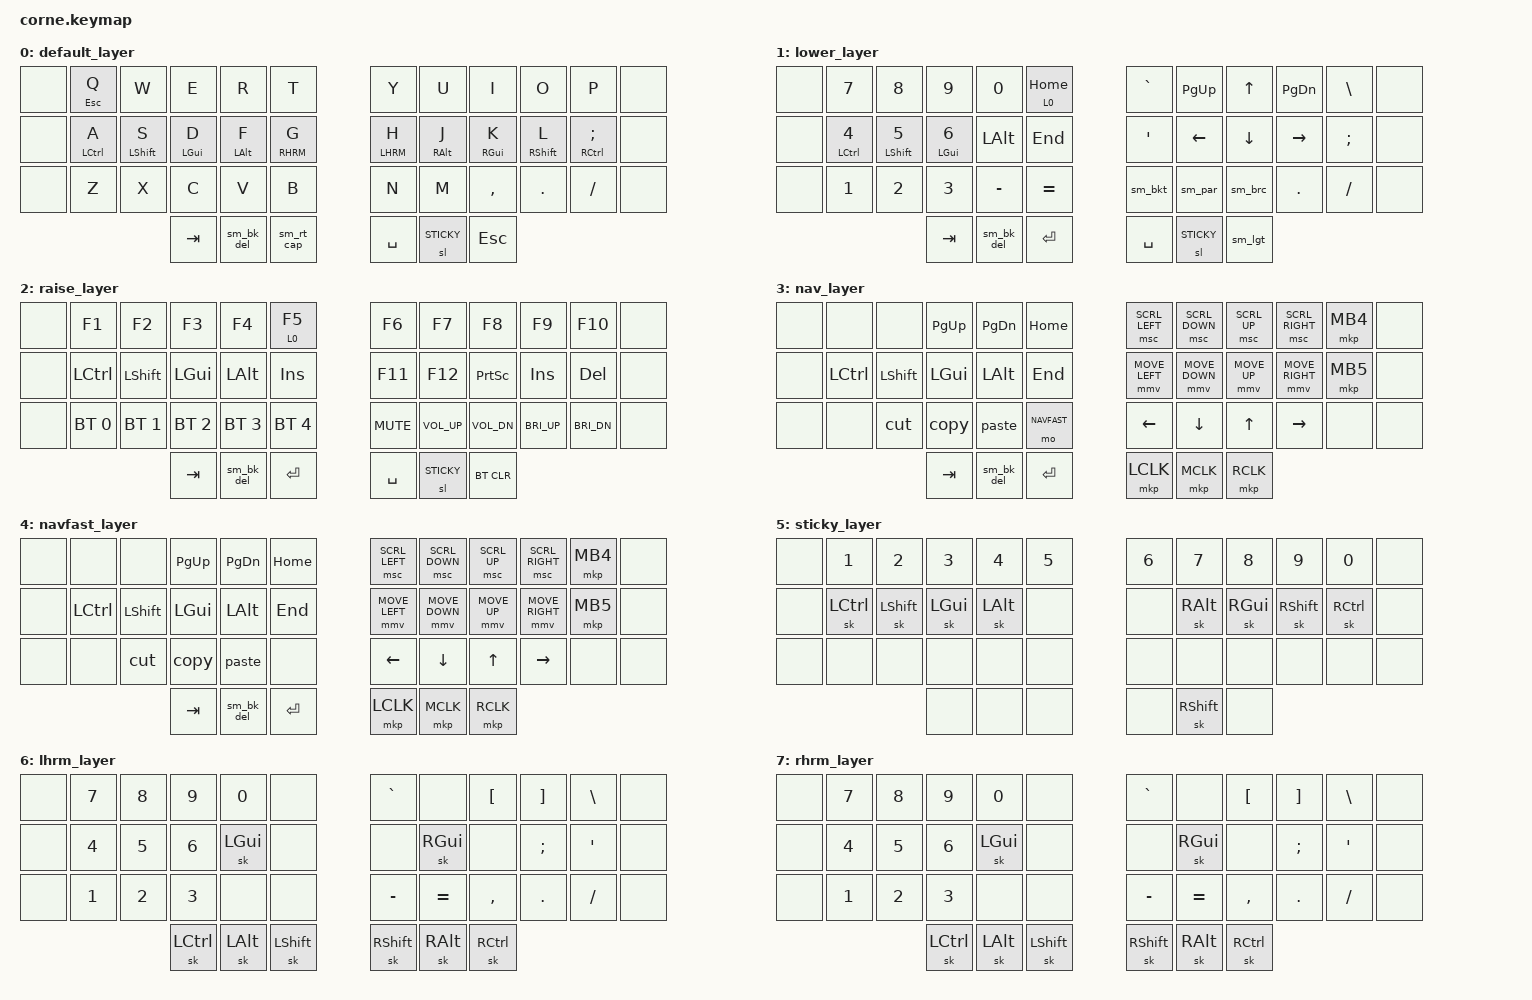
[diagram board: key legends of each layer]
/*
 * Copyright (c) 2020 The ZMK Contributors
 *
 * SPDX-License-Identifier: MIT
 */

#include <behaviors.dtsi>
#include <input/processors.dtsi>
#include <dt-bindings/zmk/keys.h>
#include <dt-bindings/zmk/bt.h>
#include <dt-bindings/zmk/mouse.h>
#include <dt-bindings/zmk/pointing.h>

#define ZMK_POINTING_DEFAULT_MOVE_VAL 1000  // default: 600
#define ZMK_POINTING_DEFAULT_SCRL_VAL 80    // default: 10


#define MAIN  0
#define NUM   1
#define SYS   2
#define NAV   3
#define NAVFAST 4
#define STICKY 5
#define LHRM  6
#define RHRM  7

&mmv {
    time-to-max-speed-ms = <500>;
    acceleration-exponent = <3>;
};

&msc {
    time-to-max-speed-ms = <300>;
    acceleration-exponent = <5>;
};

&mmv_input_listener {
    set_mouse_fast {
        layers = <NAVFAST>;
        input-processors = <&zip_xy_scaler 2 1>;
    };
};

&msc_input_listener {
    fast_scroll {
        layers = <NAVFAST>;
        input-processors = <&zip_xy_scaler 2 2>; // 2× scroll
    };
};

/ {
    macros {
        // No longer in use
        cmb1: cmb1 {
            compatible = "zmk,behavior-macro";
            #binding-cells = <0>;
            bindings
                = <&macro_press &kp LGUI &kp LCTRL>
                , <&macro_pause_for_release>
                , <&macro_release &kp LGUI &kp LCTRL>
                ;
        };
        // No longer in use
        cmb2: cmb2 {
            compatible = "zmk,behavior-macro";
            #binding-cells = <0>;
            bindings
                = <&macro_press &kp LSHFT &kp LCTRL>
                , <&macro_pause_for_release>
                , <&macro_release &kp LSHFT &kp LCTRL>
                ;
        };
        // No longer in use
        cmb3: cmb3 {
            compatible = "zmk,behavior-macro";
            #binding-cells = <0>;
            bindings
                = <&macro_press &kp LALT &kp LCTRL>
                , <&macro_pause_for_release>
                , <&macro_release &kp LALT &kp LCTRL>
                ;
        };
        cut: cut {
            compatible = "zmk,behavior-macro";
            #binding-cells = <0>;
            bindings
                = <&macro_press &kp LCTRL &kp X>
                , <&macro_pause_for_release>
                , <&macro_release &kp LCTRL &kp X>
                ;
        };
        copy: copy {
            compatible = "zmk,behavior-macro";
            #binding-cells = <0>;
            bindings
                = <&macro_press &kp LCTRL &kp C>
                , <&macro_pause_for_release>
                , <&macro_release &kp LCTRL &kp C>
                ;
        };
        paste: paste {
            compatible = "zmk,behavior-macro";
            #binding-cells = <0>;
            bindings
                = <&macro_press &kp LCTRL &kp V>
                , <&macro_pause_for_release>
                , <&macro_release &kp LCTRL &kp V>
                ;
        };
    };
};
/ {
    combos {
        compatible = "zmk,combos";
        combo_nav_left {
            timeout-ms = <80>;
            key-positions = <25 38>;
            bindings = <&to NAV>;
            require-prior-idle-ms = <150>;
            slow-release;
        };
        combo_main_left {
            timeout-ms = <80>;
            key-positions = <1 38>;
            bindings = <&to MAIN>;
            require-prior-idle-ms = <150>;
            slow-release;
        };
        combo_num_left {
            timeout-ms = <80>;
            key-positions = <3 38>;
            bindings = <&to NUM>;
            require-prior-idle-ms = <150>;
            slow-release;
        };
        combo_sys_left {
            timeout-ms = <80>;
            key-positions = <5 38>;
            bindings = <&to SYS>;
            require-prior-idle-ms = <150>;
            slow-release;
        };
        combo_nav_right {
            timeout-ms = <80>;
            key-positions = <34 39>;
            bindings = <&to NAV>;
            require-prior-idle-ms = <150>;
            slow-release;
        };
        combo_main_right {
            timeout-ms = <80>;
            key-positions = <10 39>;
            bindings = <&to MAIN>;
            require-prior-idle-ms = <150>;
            slow-release;
        };
        combo_num_right {
            timeout-ms = <80>;
            key-positions = <8 39>;
            bindings = <&to NUM>;
            require-prior-idle-ms = <150>;
            slow-release;
        };
        combo_sys_right {
            timeout-ms = <80>;
            key-positions = <6 39>;
            bindings = <&to SYS>;
            require-prior-idle-ms = <150>;
            slow-release;
        };
    };
};
&sk {
        release-after-ms = <3500>;
        // /delete-property/ ignore-modifiers;
};
/ {
        behaviors {
                bhm: balanced_homerow_mods {
                        compatible = "zmk,behavior-hold-tap";
                        #binding-cells = <2>;
                        tapping-term-ms = <300>;
                        quick-tap-ms = <200>;
                        require-prior-idle-ms = <150>;
                        flavor = "balanced";
                        bindings = <&kp>, <&kp>;
                };
                sm_bk_del: shift_mod_bkps_del {
                        compatible = "zmk,behavior-mod-morph";
                        #binding-cells = <0>;
                        bindings = <&kp BSPC>, <&kp DEL>;
                        mods = <(MOD_LSFT|MOD_RSFT)>;
                        keep-mods = <(MOD_RSFT)>;
                };
                sm_bkt: shift_mod_bkt {
                        compatible = "zmk,behavior-mod-morph";
                        #binding-cells = <0>;
                        bindings = <&kp LBKT>, <&kp RBKT>;
                        mods = <(MOD_LSFT|MOD_RSFT)>;
                        keep-mods = <(MOD_RSFT)>;
                };
                sm_par: shift_mod_par {
                        compatible = "zmk,behavior-mod-morph";
                        #binding-cells = <0>;
                        bindings = <&kp LPAR>, <&kp RPAR>;
                        mods = <(MOD_LSFT|MOD_RSFT)>;
                        keep-mods = <(MOD_RSFT)>;
                };
                sm_brc: shift_mod_brc {
                        compatible = "zmk,behavior-mod-morph";
                        #binding-cells = <0>;
                        bindings = <&kp LBRC>, <&kp RBRC>;
                        mods = <(MOD_LSFT|MOD_RSFT)>;
                        keep-mods = <(MOD_RSFT)>;
                };
                sm_lgt: shift_mod_lgt {
                        compatible = "zmk,behavior-mod-morph";
                        #binding-cells = <0>;
                        bindings = <&kp LT>, <&kp GT>;
                        mods = <(MOD_LSFT|MOD_RSFT)>;
                        keep-mods = <(MOD_RSFT)>;
                };
                sm_rt_cap: shift_mod_ret_cap {
                        compatible = "zmk,behavior-mod-morph";
                        #binding-cells = <0>;
                        bindings = <&kp RET>, <&kp CAPS>;
                        mods = <(MOD_LSFT)>;
                };
                // This is no longer in use
                sl_no_tab: shift_mod_no_tab {
                        compatible = "zmk,behavior-mod-morph";
                        #binding-cells = <0>;
                        bindings = <&to NUM>, <&kp TAB>;
                        mods = <(MOD_LSFT|MOD_RSFT)>;
                        keep-mods = <(MOD_RSFT)>;
                };
                // This is no longer in use
                stk: sticky_s_c_a {
                        compatible = "zmk,behavior-hold-tap";
                        #binding-cells = <2>;
                        tapping-term-ms = <150>;
                        quick-tap-ms = <0>;
                        flavor = "tap-preferred";
                        bindings = <&sk>, <&sk>;
                };
                // This is no longer in use
                td_mt: tap_dance_mod_tap {
                        compatible = "zmk,behavior-tap-dance";
                        #binding-cells = <0>;
                        tapping-term-ms = <200>;
                        bindings = <&stk RALT RSHIFT>, <&sk RCTRL>;
                };
                // This is no longer in use
                sh_ma: shift_mod_main_layer {
                        compatible = "zmk,behavior-mod-morph";
                        #binding-cells = <0>;
                        bindings = <&to SYS>, <&kp MAIN>;
                        mods = <(MOD_LSFT|MOD_RSFT)>;
                };
                td_main: to_main_layer {
                        compatible = "zmk,behavior-hold-tap";
                        #binding-cells = <2>;
                        tapping-term-ms = <200>;
                        quick-tap-ms = <0>;
                        flavor = "tap-preferred";
                        bindings = <&to>, <&kp>;
                };
                // No longer in use
                mod_st: mod_st {
                        compatible = "zmk,behavior-hold-tap";
                        #binding-cells = <2>;
                        tapping-term-ms = <200>;
                        quick-tap-ms = <0>;
                        flavor = "tap-preferred";
                        bindings = <&kp>, <&sk>;
                };
                lhm: balanced_layer_home_row_mods {
                        compatible = "zmk,behavior-hold-tap";
                        #binding-cells = <2>;
                        tapping-term-ms = <300>;
                        quick-tap-ms = <200>;
                        require-prior-idle-ms = <150>;
                        flavor = "balanced";
                        bindings = <&mo>, <&kp>;
                };
        };
        keymap {
                compatible = "zmk,keymap";

                default_layer {
// -----------------------------------------------------------------------------------------------------------------------------
// | N/A  |  ESC/Q    |  W       |  E      |  R        |    T     |   |  Y         |    U        |   I      |   O      |  P        | N/A  |
// | N/A  |  A/LCTRL  | S/LSHIFT |  D/LGUI |  F/LALT   | G/<LHRM> |   |  H <RHRM>  |   J/RALT    |  K/RGUI  | L/RSHIFT |  ;/RCTRL  | N/A  |
// | N/A  |  Z        |  X       |  C      |  V        |    B     |   |  N         |   M         |  ,       |  .       |  /        | N/A  |
//                               |  TAB    |  DEL/BKP  | ENT/CAP  |   | SPC        |   sticky    |  ESC     |
                        bindings = <
   &none &mt ESC Q    &kp W         &kp E         &kp R         &kp T           &kp Y          &kp U        &kp I           &kp O         &kp P           &none
   &none &bhm LCTRL A &bhm LSHIFT S &bhm LGUI D   &bhm LALT F   &lhm RHRM G    &lhm LHRM H    &bhm RALT J  &bhm RGUI K     &bhm RSHIFT L &bhm RCTRL SEMI &none
   &none &kp Z        &kp X         &kp C         &kp V         &kp B           &kp N          &kp M        &kp COMMA       &kp DOT       &kp FSLH        &none
                                    &kp TAB       &sm_bk_del    &sm_rt_cap      &kp SPACE      &sl STICKY   &kp ESC
                        >;
                };

                lower_layer {
// This should be removed, once I feel this no longer needed
// -----------------------------------------------------------------------------------------------------------------------------------
// | N/A  |    7     |   8      |   9       |     0      |HOME/M |   |    ~       |   PG_UP    |  UP     |  PG_DN   |  "\" / "|" | N/A  |
// | N/A  |  4/LCTRL | 5/LSHIFT |   6/LGUI  |   LALT     |  END  |   |    '/"     |   LEFT     |  DOWN   |  RIGHT   |   ;        | N/A  |
// | N/A  |   1      |  2       |   3       |    -/_     |  =/+  |   |     [/]    |    (/)     |   {/}   |    .     |    /       | N/A  |
//                              |    TAB    |  DEL/BKP   |  ENT  |   |    SPC     |    sticky  |   </>   |
                       bindings = <
   &none &kp N7        &kp N8         &kp N9         &kp N0        &td_main 0 HOME   &kp GRAVE       &kp PG_UP      &kp UP       &kp PG_DN  &kp BSLH   &none
   &none &bhm LCTRL N4 &bhm LSHIFT N5 &bhm LGUI N6   &kp LALT      &kp END           &kp SQT         &kp LEFT       &kp DOWN     &kp RIGHT  &kp SEMI   &none
   &none &kp N1        &kp N2         &kp N3         &kp MINUS     &kp EQUAL         &sm_bkt         &sm_par        &sm_brc      &kp DOT    &kp FSLH   &none
                                      &kp TAB        &sm_bk_del    &kp RET           &kp SPACE       &sl STICKY     &sm_lgt
                        >;
                };

                raise_layer {
// -------------------------------------------------------------------------------------------------------------------------------
// | N/A  |     F1    |   F2     |   F3    |    F4      | F5/M  |   | F6     | F7       |  F8      |  F9      |   F10     | N/A  |
// | N/A  |   LCTRL   |  LSHIFT  |   LGUI  |    LALT    |INSERT |   | F11    | F12      |  PSCRN   |  INS     |   DEL     | N/A  |
// | N/A  |    BT1    |  BT2     |   BT3   |    BT4     |  BT5  |   | C_MUTE | C_VOL_UP | C_VOL_DN | C_BRI_UP | C_BRI_DN  | N/A  |
//                               |    TAB  |   DEL/BKP  |  ENT  |   | SPC    |  sticky  |  BTCLR   |
                        bindings = <
   &none  &kp F1       &kp F2       &kp F3       &kp F4       &td_main 0  F5    &kp F6     &kp F7        &kp F8        &kp F9       &kp F10       &none
   &none  &kp LCTRL    &kp LSHFT    &kp LGUI     &kp LALT     &kp INS           &kp F11    &kp F12       &kp PSCRN     &kp INS      &kp DEL       &none
   &none  &bt BT_SEL 0 &bt BT_SEL 1 &bt BT_SEL 2 &bt BT_SEL 3 &bt BT_SEL 4      &kp C_MUTE &kp C_VOL_UP  &kp C_VOL_DN  &kp C_BRI_UP &kp C_BRI_DN  &none
                                    &kp TAB      &sm_bk_del   &kp RET           &kp SPACE  &sl STICKY    &bt BT_CLR
                        >;
                };
                nav_layer {
// -------------------------------------------------------------------------------------------------------------------------------
// | N/A  |  CMB1  |  SHFT  |  UP    | ALT     | HOME/M |       | MB4   | None  | None  | None  | None  | None  |
// | N/A  |  CMB2  |  LEFT  |  DOWN  | RIGHT   | END    |       | MB5   | None  | None  | None  | None  | None  |
// | N/A  |  CMB3  |  CUT   | COPY   | PASTE   | WIN    |       | None  | LCLK  | MCLK  | RCLK  | None  | None  |
//                          |  TAB   | DEL/BKP |  ENT   |       | None  | None  | None  |
                        bindings = <
   &none  &none         &none        &kp PG_UP    &kp PG_DN     &kp HOME      &msc SCRL_LEFT   &msc SCRL_DOWN   &msc SCRL_UP  &msc SCRL_RIGHT  &mkp MB4    &none
   &none  &kp LCTRL     &kp LSHFT    &kp LGUI     &kp LALT      &kp END       &mmv MOVE_LEFT   &mmv MOVE_DOWN   &mmv MOVE_UP  &mmv MOVE_RIGHT  &mkp MB5    &none
   &none  &none         &cut         &copy        &paste        &mo NAVFAST         &kp LEFT         &kp DOWN         &kp UP        &kp RIGHT  &none       &none
                                     &kp TAB      &sm_bk_del    &kp RET       &mkp LCLK  &mkp MCLK        &mkp RCLK 
                        >;
                };
// Momentary layer for fast scroll and mouse movement
                navfast_layer {
                        bindings = <
   &none  &none         &none        &kp PG_UP    &kp PG_DN     &kp HOME      &msc SCRL_LEFT   &msc SCRL_DOWN    &msc SCRL_UP    &msc SCRL_RIGHT   &mkp MB4    &none
   &none  &kp LCTRL     &kp LSHFT    &kp LGUI     &kp LALT      &kp END       &mmv MOVE_LEFT   &mmv MOVE_DOWN    &mmv MOVE_UP    &mmv MOVE_RIGHT   &mkp MB5    &none
   &none  &none         &cut         &copy        &paste        &none         &kp LEFT         &kp DOWN          &kp UP          &kp RIGHT         &none       &none
                                     &kp TAB      &sm_bk_del    &kp RET       &mkp LCLK        &mkp MCLK         &mkp RCLK
    >;
};

                sticky_layer {
// -------------------------------------------------------------------------------------------------------------------------------
// | None  | None  | None  | None  | None  | None  |       | None  | None  | None  | None  | None  | None  |
// | None  | None  | None  | None  | None  | None  |       | None  | None  | None  | None  | None  | None  |
// | None  | None  | None  | None  | None  | None  |       | None  | None  | None  | None  | None  | None  |
//                         | None  | None  | None  |       | None  | None  | None  |
                        bindings = <
   &none   &kp N1      &kp N2       &kp N3       &kp N4       &kp N5        &kp N6  &kp N7        &kp N8        &kp N9         &kp N0     &none
   &none   &sk LCTRL   &sk LSHFT    &sk LGUI     &sk LALT     &none         &none   &sk RALT      &sk RGUI      &sk RSHIFT     &sk RCTRL  &none
   &none   &none       &none        &none        &none        &none         &none   &none         &none         &none          &none      &none
                                    &none        &none        &none         &none   &sk RSHIFT    &none  
                        >;
                };
                lhrm_layer {
// -------------------------------------------------------------------------------------------------------------------------------
// | None  | None  | None  | None  | None  | None  |       | None  | None  | None  | None  | None  | None  |
// | None  | None  | None  | None  | None  | None  |       | None  | None  | None  | None  | None  | None  |
// | None  | None  | None  | None  | None  | None  |       | None  | None  | None  | None  | None  | None  |
//                         | None  | None  | None  |       | None  | None  | None  |
                        bindings = <
   &none   &kp N7   &kp N8     &kp N9       &kp N0       &none           &kp GRAVE     &none          &kp LBKT    &kp RBKT   &kp BSLH     &none
   &none   &kp N4   &kp N5     &kp N6       &sk LGUI     &none           &none         &sk RGUI       &none       &kp SEMI   &kp APOS     &none
   &none   &kp N1   &kp N2     &kp N3       &none        &none           &kp MINUS     &kp EQUAL      &kp COMMA   &kp DOT    &kp FSLH     &none
                               &sk LCTRL    &sk LALT     &sk LSHFT       &sk RSHIFT    &sk RALT       &sk RCTRL

                        >;
                };
                rhrm_layer {
// -------------------------------------------------------------------------------------------------------------------------------
// | None  | None  | None  | None  | None  | None  |       | None  | None  | None  | None  | None  | None  |
// | None  | None  | None  | None  | None  | None  |       | None  | None  | None  | None  | None  | None  |
// | None  | None  | None  | None  | None  | None  |       | None  | None  | None  | None  | None  | None  |
//                         | None  | None  | None  |       | None  | None  | None  |
                        bindings = <
&none   &kp N7   &kp N8     &kp N9       &kp N0       &none           &kp GRAVE     &none          &kp LBKT    &kp RBKT   &kp BSLH     &none
&none   &kp N4   &kp N5     &kp N6       &sk LGUI     &none           &none         &sk RGUI       &none       &kp SEMI   &kp APOS     &none
&none   &kp N1   &kp N2     &kp N3       &none        &none           &kp MINUS     &kp EQUAL      &kp COMMA   &kp DOT    &kp FSLH     &none
                            &sk LCTRL    &sk LALT     &sk LSHFT       &sk RSHIFT    &sk RALT       &sk RCTRL
                        >;
                };
        };
};

// Not used anywhere
// Combo 1 Win + Ctrl
// Combo 2 Shit + Ctrl
// Combo 3 Alt + Ctrl
